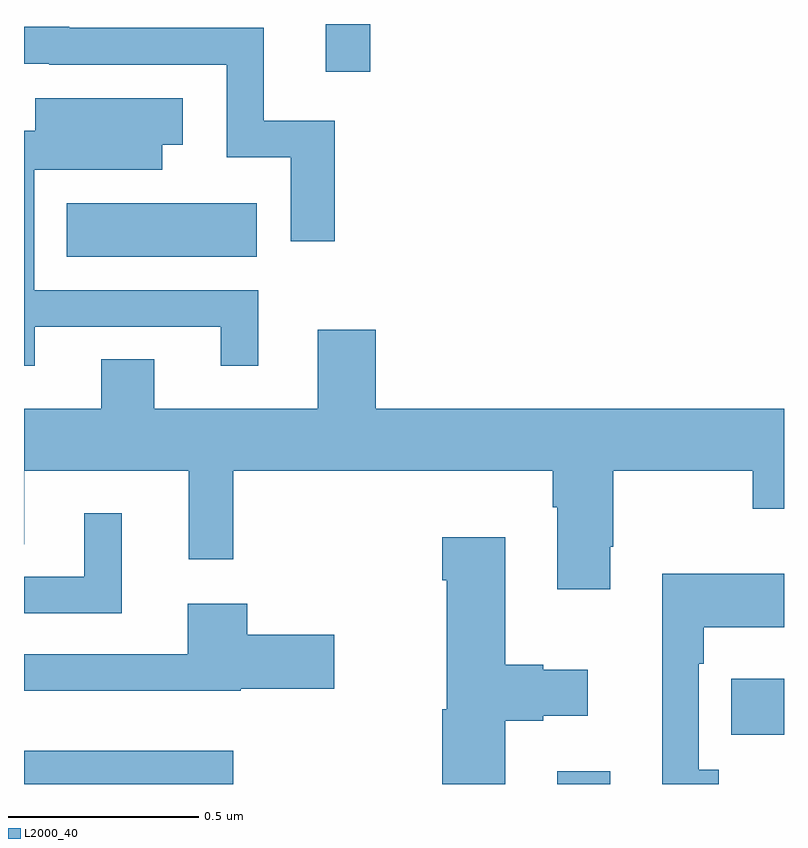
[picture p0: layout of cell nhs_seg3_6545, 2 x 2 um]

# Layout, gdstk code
import gdstk
lib = gdstk.Library(unit=1e-6, precision=1e-09)
def R(c, l, rs):  # rectangles x0, y0, x1, y1
    for r in rs: c.add(gdstk.rectangle(r[:2], r[2:], *l))
def P(c, l, *ps):  # polygons
    for p in ps: c.add(gdstk.Polygon(p, *l))
L2000_40 = (2000, 40)

nhs_seg3_6545 = lib.new_cell('nhs_seg3_6545')
R(nhs_seg3_6545, L2000_40, [(192,725.4,192.551,725.488), (193.403,725.4,193.543,725.434), (193.861,725.53,194,725.677), (192.112,726.788,192.613,726.928), (192.794,727.275,192.911,727.4)])
P(nhs_seg3_6545, L2000_40, [(192.818,727.146),(192.631,727.146),(192.631,727.39),(192.119,727.39),(192.119,727.393),(192,727.393),(192,727.296),(192.067,727.296),(192.067,727.293),(192.534,727.293),(192.534,727.05),(192.702,727.05),(192.702,726.828),(192.818,726.828)],
  [(192.028,726.603),(192.518,726.603),(192.518,726.501),(192.616,726.501),(192.616,726.699),(192.027,726.699),(192.027,727.016),(192.364,727.016),(192.364,727.082),(192.418,727.082),(192.418,727.204),(192.03,727.204),(192.03,727.119),(192,727.119),(192,726.501),(192.028,726.501)],
  [(193.543,726.025),(193.551,726.025),(193.551,726.224),(193.918,726.224),(193.918,726.125),(194,726.125),(194,726.388),(192.926,726.388),(192.926,726.595),(192.773,726.595),(192.773,726.388),(192.343,726.388),(192.343,726.518),(192.203,726.518),(192.203,726.388),(192,726.388),(192,726.031),(192.001,726.031),(192.001,726.224),(192.434,726.224),(192.434,725.991),(192.551,725.991),(192.551,726.224),(193.391,726.224),(193.391,726.128),(193.403,726.128),(193.403,725.913),(193.543,725.913)],
  [(192.257,726.112),(192.158,726.112),(192.158,725.946),(192,725.946),(192,725.85),(192.257,725.85)],
  [(193.267,725.567),(193.367,725.567),(193.367,725.579),(193.483,725.579),(193.483,725.701),(193.367,725.701),(193.367,725.714),(193.267,725.714),(193.267,726.049),(193.1,726.049),(193.1,725.936),(193.112,725.936),(193.112,725.597),(193.1,725.597),(193.1,725.4),(193.267,725.4)],
  [(193.828,725.438),(193.776,725.438),(193.776,725.717),(193.789,725.717),(193.789,725.813),(194,725.813),(194,725.953),(193.679,725.953),(193.679,725.4),(193.828,725.4)],
  [(192.57,725.651),(192.817,725.651),(192.817,725.793),(192.587,725.793),(192.587,725.875),(192.431,725.875),(192.431,725.742),(192,725.742),(192,725.645),(192.57,725.645)])

lib.write_gds('nhs_seg3_6545.gds')
